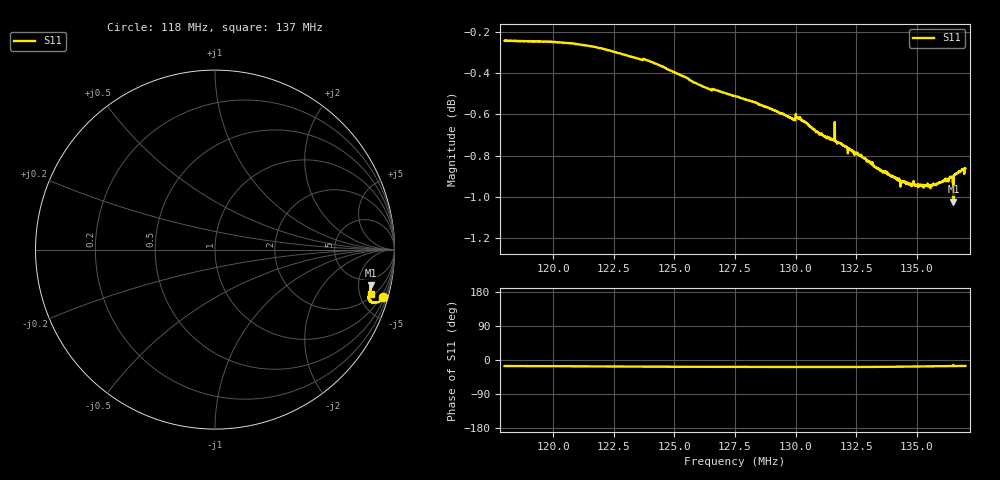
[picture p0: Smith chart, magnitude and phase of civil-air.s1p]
! Calibrated averaged scanner-service zoom
# Hz S RI R 50
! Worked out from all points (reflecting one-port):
!   2001 points, 118 MHz to 137 MHz, reference 50 ohm
!   lowest |S11| = -1.0 dB at 136.5 MHz (marker M1), VSWR 16.97, Z = 184 - j347 ohm
!   phase of S11 starts at -16 deg and turns +0 deg over the sweep
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1.18e8  0.9353 -0.2663
1.191495e8  0.934 -0.2699
1.20375e8  0.9317 -0.2751
1.21553e8  0.928 -0.2806
1.2275e8  0.9225 -0.2857
1.23852e8  0.9173 -0.2902
1.25125e8  0.9087 -0.2932
1.26455e8  0.8999 -0.2933
1.275e8  0.8959 -0.2936
1.28355e8  0.8923 -0.2941
1.29875e8  0.8832 -0.2942
1.30103e8  0.8838 -0.2939
1.309105e8  0.8766 -0.2925
1.31547e8  0.8725 -0.2918
1.3225e8  0.868 -0.2895
1.323545e8  0.8673 -0.2886
1.3263e8  0.8656 -0.2874
1.33105e8  0.8625 -0.2842
1.34055e8  0.8578 -0.2757
1.342545e8  0.8571 -0.2724
1.34625e8  0.8571 -0.2684
1.355465e8  0.8585 -0.2576
1.364015e8  0.8658 -0.2487
1.36411e8  0.866 -0.2492
1.36506e8  0.8664 -0.1979
1.36601e8  0.8681 -0.2476
1.366105e8  0.8679 -0.2478
1.37e8  0.8715 -0.2455
